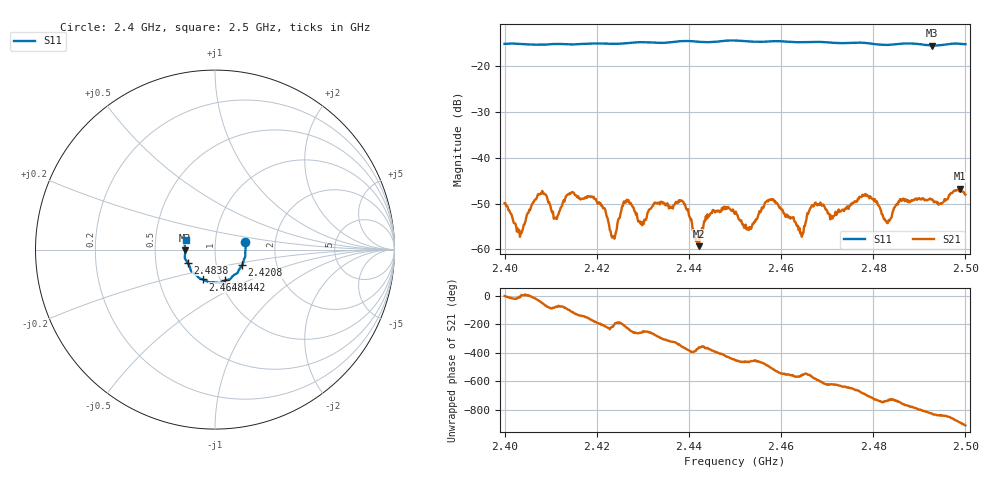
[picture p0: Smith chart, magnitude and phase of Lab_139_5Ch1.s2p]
# Hz S RI R 50
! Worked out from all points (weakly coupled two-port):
!   601 points, 2.4 GHz to 2.5 GHz, reference 50 ohm
!   highest |S21| = -46.76 dB at 2.4988 GHz (marker M1); lowest = -59.3 dB at 2.4422 GHz (marker M2)
!   lowest |S11| = -15.6 dB at 2.4928 GHz (marker M3), VSWR 1.40, Z = 35.8 - j0.357 ohm
!   |S11| at or under -10 dB: start of sweep to end of sweep
!   S12 and S22 are empty: the file has one direction only
!   S11 on the Smith chart (normalised r, x): 2.4 GHz: 1.40, +0.12; 2.4208 GHz: 1.33, -0.24; 2.4442 GHz: 1.05, -0.37; 2.4648 GHz: 0.83, -0.28; 2.4838 GHz: 0.73, -0.11; 2.5 GHz: 0.72, +0.08
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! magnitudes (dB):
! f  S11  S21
! 2.4 GHz  -15.2  -49.9
! 2.4032 GHz  -15.2  -55.7
! 2.4077 GHz  -15.4  -48.0
! 2.4112 GHz  -15.3  -53.0
! 2.4167 GHz  -15.3  -49.0
! 2.4208 GHz  -15.2  -49.9
! 2.4237 GHz  -15.2  -57.2
! 2.4263 GHz  -15.1  -49.8
! 2.4333 GHz  -15.0  -49.9
! 2.4387 GHz  -14.6  -49.6
! 2.4422 GHz  -14.8  -59.3
! 2.4442 GHz  -14.9  -53.0
! 2.45 GHz  -14.5  -52.3
! 2.4582 GHz  -14.7  -49.1
! 2.4648 GHz  -14.9  -56.3
! 2.4667 GHz  -14.8  -50.4
! 2.4782 GHz  -15.0  -48.0
! 2.4833 GHz  -15.5  -53.6
! 2.4838 GHz  -15.4  -53.2
! 2.4928 GHz  -15.6  -49.1
! 2.4988 GHz  -15.2  -46.8
! 2.5 GHz  -15.3  -48.1
